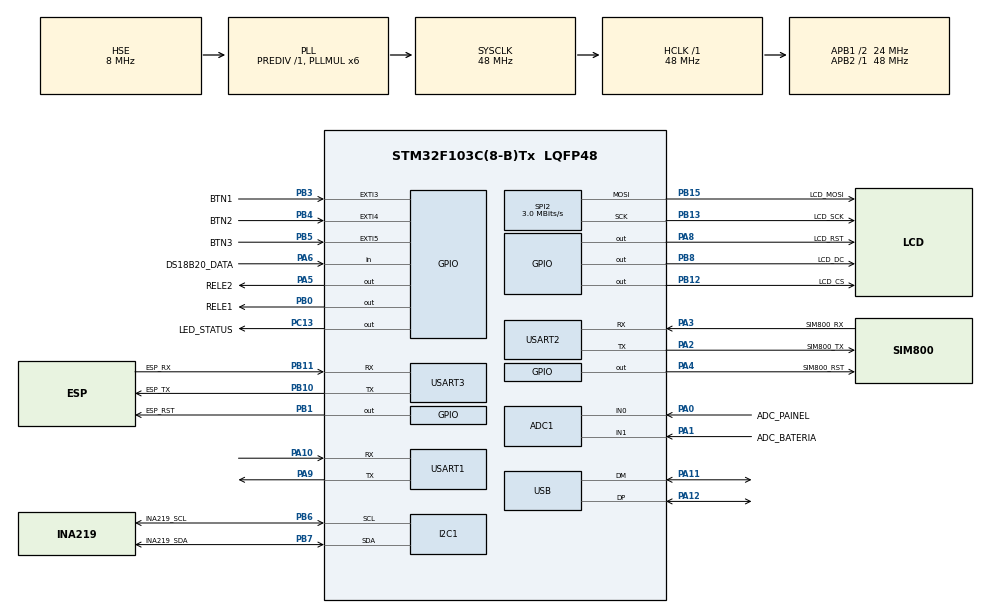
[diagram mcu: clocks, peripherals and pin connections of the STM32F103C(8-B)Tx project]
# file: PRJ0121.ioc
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ADC1.Channel-0\#ChannelRegularConversion=ADC_CHANNEL_0
ADC1.Channel-1\#ChannelRegularConversion=ADC_CHANNEL_1
ADC1.Channel-2\#ChannelRegularConversion=ADC_CHANNEL_TEMPSENSOR
ADC1.NbrOfConversion=3
ADC1.NbrOfConversionFlag=1
ADC1.Rank-0\#ChannelRegularConversion=1
ADC1.Rank-1\#ChannelRegularConversion=2
ADC1.Rank-2\#ChannelRegularConversion=3
ADC1.SamplingTime-0\#ChannelRegularConversion=ADC_SAMPLETIME_71CYCLES_5
ADC1.SamplingTime-1\#ChannelRegularConversion=ADC_SAMPLETIME_71CYCLES_5
ADC1.SamplingTime-2\#ChannelRegularConversion=ADC_SAMPLETIME_71CYCLES_5
ADC1.master=1
Dma.ADC1.0.Direction=DMA_PERIPH_TO_MEMORY
Dma.ADC1.0.Instance=DMA1_Channel1
Dma.ADC1.0.MemDataAlignment=DMA_MDATAALIGN_WORD
Dma.ADC1.0.MemInc=DMA_MINC_ENABLE
Dma.ADC1.0.Mode=DMA_CIRCULAR
Dma.ADC1.0.PeriphDataAlignment=DMA_PDATAALIGN_WORD
Dma.ADC1.0.PeriphInc=DMA_PINC_DISABLE
Dma.ADC1.0.Priority=DMA_PRIORITY_LOW
Dma.Request0=ADC1
FREERTOS.MEMORY_ALLOCATION=1
FREERTOS.Mutexes01=mutexConfig,Static,mutexConfigControlBlock;mutexStatus,Static,mutexStatusControlBlock
FREERTOS.Tasks01=taskAquisicao,0,128,leitura,Default,NULL,Static,taskAquisicaoBuffer,taskAquisicaoControlBlock;taskAcionamento,0,128,motores,Default,NULL,Static,taskAcionamentoBuffer,taskAcionamentoControlBlock;taskDisplay,-3,128,impressao,Default,NULL,Static,taskDisplayBuffer,taskDisplayControlBlock;taskComunicacoa,-2,128,rede,Default,NULL,Static,taskComunicacoaBuffer,taskComunicacoaControlBlock
FREERTOS.configTOTAL_HEAP_SIZE=6000
IWDG.Prescaler=IWDG_PRESCALER_256
Mcu.Family=STM32F1
Mcu.Name=STM32F103C(8-B)Tx
Mcu.Package=LQFP48
NVIC.ADC1_2_IRQn=true\:5\:0\:false\:false\:true\:true\:true
NVIC.DMA1_Channel1_IRQn=true\:5\:0\:false\:false\:true\:true\:false
NVIC.EXTI3_IRQn=true\:5\:0\:false\:false\:true\:true\:true
NVIC.EXTI4_IRQn=true\:5\:0\:false\:false\:true\:true\:true
NVIC.EXTI9_5_IRQn=true\:5\:0\:false\:false\:true\:true\:true
NVIC.PriorityGroup=NVIC_PRIORITYGROUP_4
NVIC.TIM1_UP_IRQn=true\:0\:0\:false\:false\:true\:false\:false
NVIC.TimeBase=TIM1_UP_IRQn
NVIC.TimeBaseIP=TIM1
NVIC.USART1_IRQn=true\:5\:0\:false\:false\:true\:true\:true
NVIC.USART2_IRQn=true\:5\:0\:false\:false\:true\:true\:true
NVIC.USART3_IRQn=true\:5\:0\:false\:false\:true\:true\:true
NVIC.USB_LP_CAN1_RX0_IRQn=true\:5\:0\:false\:false\:true\:true\:false
PA0-WKUP.GPIO_Label=ADC_PAINEL
PA0-WKUP.Signal=ADCx_IN0
PA1.GPIO_Label=ADC_BATERIA
PA1.Signal=ADCx_IN1
PA10.Mode=Asynchronous
PA10.Signal=USART1_RX
PA11.Mode=Device
PA11.Signal=USB_DM
PA12.Mode=Device
PA12.Signal=USB_DP
PA2.GPIO_Label=SIM800_TX
PA2.Mode=Asynchronous
PA2.Signal=USART2_TX
PA3.GPIO_Label=SIM800_RX
PA3.Mode=Asynchronous
PA3.Signal=USART2_RX
PA4.GPIO_Label=SIM800_RST
PA4.Signal=GPIO_Output
PA5.GPIO_Label=RELE2
PA5.PinState=GPIO_PIN_SET
PA5.Signal=GPIO_Output
PA6.GPIO_Label=DS18B20_DATA
PA6.Signal=GPIO_Input
PA8.GPIO_Label=LCD_RST
PA8.Signal=GPIO_Output
PA9.Mode=Asynchronous
PA9.Signal=USART1_TX
PB0.GPIO_Label=RELE1
PB0.PinState=GPIO_PIN_SET
PB0.Signal=GPIO_Output
PB1.GPIO_Label=ESP_RST
PB1.Signal=GPIO_Output
PB10.GPIO_Label=ESP_TX
PB10.Mode=Asynchronous
PB10.Signal=USART3_TX
PB11.GPIO_Label=ESP_RX
PB11.Mode=Asynchronous
PB11.Signal=USART3_RX
PB12.GPIO_Label=LCD_CS
PB12.Signal=GPIO_Output
PB13.GPIO_Label=LCD_SCK
PB13.Mode=TX_Only_Simplex_Unidirect_Master
PB13.Signal=SPI2_SCK
PB15.GPIO_Label=LCD_MOSI
PB15.Mode=TX_Only_Simplex_Unidirect_Master
PB15.Signal=SPI2_MOSI
PB3.GPIO_Label=BTN1
PB3.GPIO_PuPd=GPIO_PULLUP
PB3.Signal=GPXTI3
PB4.GPIO_Label=BTN2
PB4.GPIO_PuPd=GPIO_PULLUP
PB4.Signal=GPXTI4
PB5.GPIO_Label=BTN3
PB5.GPIO_PuPd=GPIO_PULLUP
PB5.Signal=GPXTI5
PB6.GPIO_Label=INA219_SCL
PB6.Mode=I2C
PB6.Signal=I2C1_SCL
PB7.GPIO_Label=INA219_SDA
PB7.Mode=I2C
PB7.Signal=I2C1_SDA
PB8.GPIO_Label=LCD_DC
PB8.Signal=GPIO_Output
PC13-TAMPER-RTC.GPIO_Label=LED_STATUS
PC13-TAMPER-RTC.Signal=GPIO_Output
PC14-OSC32_IN.Mode=LSE-External-Oscillator
PC14-OSC32_IN.Signal=RCC_OSC32_IN
PC15-OSC32_OUT.Mode=LSE-External-Oscillator
PC15-OSC32_OUT.Signal=RCC_OSC32_OUT
PD0-OSC_IN.Mode=HSE-External-Oscillator
PD0-OSC_IN.Signal=RCC_OSC_IN
PD1-OSC_OUT.Mode=HSE-External-Oscillator
PD1-OSC_OUT.Signal=RCC_OSC_OUT
ProjectManager.HeapSize=0x200
ProjectManager.StackSize=0x400
ProjectManager.TargetToolchain=TrueSTUDIO
RCC.ADCPresc=RCC_ADCPCLK2_DIV4
RCC.AHBFreq_Value=48000000
RCC.APB1CLKDivider=RCC_HCLK_DIV2
RCC.APB1Freq_Value=24000000
RCC.APB1TimFreq_Value=48000000
RCC.APB2Freq_Value=48000000
RCC.APB2TimFreq_Value=48000000
RCC.HCLKFreq_Value=48000000
RCC.PLLMUL=RCC_PLL_MUL6
RCC.SYSCLKFreq_VALUE=48000000
RCC.SYSCLKSource=RCC_SYSCLKSOURCE_PLLCLK
RCC.USBFreq_Value=48000000
SH.ADCx_IN0.0=ADC1_IN0,IN0
SH.ADCx_IN1.0=ADC1_IN1,IN1
SPI2.BaudRatePrescaler=SPI_BAUDRATEPRESCALER_8
SPI2.CalculateBaudRate=3.0 MBits/s
SPI2.Direction=SPI_DIRECTION_2LINES
SPI2.Mode=SPI_MODE_MASTER
SPI2.VirtualType=VM_MASTER
TIM2.Period=0xFFFF
TIM2.Prescaler=47
USART1.VirtualMode=VM_ASYNC
USART2.VirtualMode=VM_ASYNC
USART3.VirtualMode=VM_ASYNC
USB_DEVICE.CLASS_NAME_FS=CDC
USB_DEVICE.VirtualMode=Cdc
USB_DEVICE.VirtualModeFS=Cdc_FS
VP_ADC1_TempSens_Input.Mode=IN-TempSens
VP_FREERTOS_VS_ENABLE.Mode=Enabled
VP_IWDG_VS_IWDG.Mode=IWDG_Activate
VP_SYS_VS_ND.Mode=No_Debug
VP_SYS_VS_tim1.Mode=TIM1
VP_TIM2_VS_ClockSourceINT.Mode=Internal
VP_USB_DEVICE_VS_USB_DEVICE_CDC_FS.Mode=CDC_FS
board=custom

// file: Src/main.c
/**
  ******************************************************************************
  * @file           : main.c
  * @brief          : Main program body
  ******************************************************************************
  * This notice applies to any and all portions of this file
  * that are not between comment pairs USER CODE BEGIN and
  * USER CODE END. Other portions of this file, whether
  * inserted by the user or by software development tools
  * are owned by their respective copyright owners.
  *
  * Copyright (c) 2018 STMicroelectronics International N.V.
  * All rights reserved.
  *
  * Redistribution and use in source and binary forms, with or without
  * modification, are permitted, provided that the following conditions are met:
  *
  * 1. Redistribution of source code must retain the above copyright notice,
  *    this list of conditions and the following disclaimer.
  * 2. Redistributions in binary form must reproduce the above copyright notice,
  *    this list of conditions and the following disclaimer in the documentation
  *    and/or other materials provided with the distribution.
  * 3. Neither the name of STMicroelectronics nor the names of other
  *    contributors to this software may be used to endorse or promote products
  *    derived from this software without specific written permission.
  * 4. This software, including modifications and/or derivative works of this
  *    software, must execute solely and exclusively on microcontroller or
  *    microprocessor devices manufactured by or for STMicroelectronics.
  * 5. Redistribution and use of this software other than as permitted under
  *    this license is void and will automatically terminate your rights under
  *    this license.
  *
  * THIS SOFTWARE IS PROVIDED BY STMICROELECTRONICS AND CONTRIBUTORS "AS IS"
  * AND ANY EXPRESS, IMPLIED OR STATUTORY WARRANTIES, INCLUDING, BUT NOT
  * LIMITED TO, THE IMPLIED WARRANTIES OF MERCHANTABILITY, FITNESS FOR A
  * PARTICULAR PURPOSE AND NON-INFRINGEMENT OF THIRD PARTY INTELLECTUAL PROPERTY
  * RIGHTS ARE DISCLAIMED TO THE FULLEST EXTENT PERMITTED BY LAW. IN NO EVENT
  * SHALL STMICROELECTRONICS OR CONTRIBUTORS BE LIABLE FOR ANY DIRECT, INDIRECT,
  * INCIDENTAL, SPECIAL, EXEMPLARY, OR CONSEQUENTIAL DAMAGES (INCLUDING, BUT NOT
  * LIMITED TO, PROCUREMENT OF SUBSTITUTE GOODS OR SERVICES; LOSS OF USE, DATA,
  * OR PROFITS; OR BUSINESS INTERRUPTION) HOWEVER CAUSED AND ON ANY THEORY OF
  * LIABILITY, WHETHER IN CONTRACT, STRICT LIABILITY, OR TORT (INCLUDING
  * NEGLIGENCE OR OTHERWISE) ARISING IN ANY WAY OUT OF THE USE OF THIS SOFTWARE,
  * EVEN IF ADVISED OF THE POSSIBILITY OF SUCH DAMAGE.
  *
  ******************************************************************************
  */
#include "main.h"
#include "stm32f1xx_hal.h"
#include "cmsis_os.h"
#include "usb_device.h"

/* USER CODE BEGIN Includes */
#include "user_5110.h"
#include "ina219.h"
#include "esp8266at.h"
#include "MQTTPacket.h"
#include "transport.h"
#include "eeprom.h"
#include "ds18b20.h"
/* USER CODE END Includes */

ADC_HandleTypeDef hadc1;
DMA_HandleTypeDef hdma_adc1;

I2C_HandleTypeDef hi2c1;

IWDG_HandleTypeDef hiwdg;

SPI_HandleTypeDef hspi2;

TIM_HandleTypeDef htim2;

UART_HandleTypeDef huart1;
UART_HandleTypeDef huart2;
UART_HandleTypeDef huart3;

osThreadId taskAquisicaoHandle;
uint32_t taskAquisicaoBuffer[ 128 ];
osStaticThreadDef_t taskAquisicaoControlBlock;
osThreadId taskAcionamentoHandle;
uint32_t taskAcionamentoBuffer[ 128 ];
osStaticThreadDef_t taskAcionamentoControlBlock;
osThreadId taskDisplayHandle;
uint32_t taskDisplayBuffer[ 128 ];
osStaticThreadDef_t taskDisplayControlBlock;
osThreadId taskComunicacoaHandle;
uint32_t taskComunicacoaBuffer[ 128 ];
osStaticThreadDef_t taskComunicacoaControlBlock;
osMutexId mutexConfigHandle;
osStaticMutexDef_t mutexConfigControlBlock;
osMutexId mutexStatusHandle;
osStaticMutexDef_t mutexStatusControlBlock;

/* USER CODE BEGIN PV */
/* Private variables ---------------------------------------------------------*/

Status_t Status;
Config_t Config;
char buffer[50];
char payload[200];
uint32_t buffAdc[3];
int seq = 0;

//Reimplementação das funções para direcionar o printf para a UART2
int __io_putchar(int ch) {
	uint8_t c[1];
	c[0] = ch & 0x00FF;
	HAL_UART_Transmit(&huart1, &*c, 1, 10);
	return ch;
}

int _write(int file,char *ptr, int len){
	int DataIdx;
	for(DataIdx= 0; DataIdx< len; DataIdx++) {
		__io_putchar(*ptr++);
	}
	return len;
}
/* USER CODE END PV */

void SystemClock_Config(void);
static void MX_GPIO_Init(void);
static void MX_DMA_Init(void);
static void MX_SPI2_Init(void);
static void MX_I2C1_Init(void);
static void MX_ADC1_Init(void);
static void MX_USART2_UART_Init(void);
static void MX_USART3_UART_Init(void);
static void MX_USART1_UART_Init(void);
static void MX_IWDG_Init(void);
static void MX_TIM2_Init(void);
void leitura(void const * argument);
void motores(void const * argument);
void impressao(void const * argument);
void rede(void const * argument);

/* USER CODE BEGIN PFP */
/* Private function prototypes -----------------------------------------------*/

/* USER CODE END PFP */

/* USER CODE BEGIN 0 */

void sampleserial_init(void);
void sampleserial_close(void);
int samplesend(unsigned char *address, unsigned int bytes);
int samplerecv(unsigned char *address, unsigned int maxbytes);
int mqtt_start(void);
int mqtt_pub(void);
/* */

/* You will use your hardware specifics here, see transport.h. */
static transport_iofunctions_t iof = {samplesend, samplerecv};

/* USER CODE END 0 */

int main(void)
{
  /* USER CODE BEGIN 1 */
	Config.tempoLigadoDia = 8;
	Config.tempoDesligadoDia = 15;
	Config.tempoLigadoNoite = 8;
	Config.tempoDesligadoNoite = 15;
	Config.Imax = 2000;
	Config.VbatMin = 0000;
	Config.VcargaMin = 0000;
	Config.tempAguaMax = 35;
	Config.tempProcMax  = 65;
	Config.thresholdDia  = 3000;
  /* USER CODE END 1 */

  /* MCU Configuration----------------------------------------------------------*/

  /* Reset of all peripherals, Initializes the Flash interface and the Systick. */
  HAL_Init();

  /* Configure the system clock */
  SystemClock_Config();

  /* Initialize all configured peripherals */
  MX_GPIO_Init();
  MX_DMA_Init();
  MX_SPI2_Init();
  MX_I2C1_Init();
  MX_ADC1_Init();
  MX_USART2_UART_Init();
  MX_USART3_UART_Init();
  MX_USART1_UART_Init();
  MX_IWDG_Init();
  MX_TIM2_Init();

  /* Create the mutex(es) */
  /* definition and creation of mutexConfig */
  osMutexStaticDef(mutexConfig, &mutexConfigControlBlock);
  mutexConfigHandle = osMutexCreate(osMutex(mutexConfig));

  /* definition and creation of mutexStatus */
  osMutexStaticDef(mutexStatus, &mutexStatusControlBlock);
  mutexStatusHandle = osMutexCreate(osMutex(mutexStatus));

  /* Create the thread(s) */
  /* definition and creation of taskAquisicao */
  osThreadStaticDef(taskAquisicao, leitura, osPriorityNormal, 0, 128, taskAquisicaoBuffer, &taskAquisicaoControlBlock);
  taskAquisicaoHandle = osThreadCreate(osThread(taskAquisicao), NULL);

  /* definition and creation of taskAcionamento */
  osThreadStaticDef(taskAcionamento, motores, osPriorityNormal, 0, 128, taskAcionamentoBuffer, &taskAcionamentoControlBlock);
  taskAcionamentoHandle = osThreadCreate(osThread(taskAcionamento), NULL);

  /* definition and creation of taskDisplay */
  osThreadStaticDef(taskDisplay, impressao, osPriorityIdle, 0, 128, taskDisplayBuffer, &taskDisplayControlBlock);
  taskDisplayHandle = osThreadCreate(osThread(taskDisplay), NULL);

  /* definition and creation of taskComunicacoa */
  osThreadStaticDef(taskComunicacoa, rede, osPriorityLow, 0, 128, taskComunicacoaBuffer, &taskComunicacoaControlBlock);
  taskComunicacoaHandle = osThreadCreate(osThread(taskComunicacoa), NULL);

  /* Start scheduler */
  osKernelStart();

  /* We should never get here as control is now taken by the scheduler */

  /* Infinite loop */
  while (1)
  {

  }

}

void SystemClock_Config(void)
{

  RCC_OscInitTypeDef RCC_OscInitStruct;
  RCC_ClkInitTypeDef RCC_ClkInitStruct;
  RCC_PeriphCLKInitTypeDef PeriphClkInit;

    /**Initializes the CPU, AHB and APB busses clocks
    */
  RCC_OscInitStruct.OscillatorType = RCC_OSCILLATORTYPE_LSI|RCC_OSCILLATORTYPE_HSE;
  RCC_OscInitStruct.HSEState = RCC_HSE_ON;
  RCC_OscInitStruct.HSEPredivValue = RCC_HSE_PREDIV_DIV1;
  RCC_OscInitStruct.HSIState = RCC_HSI_ON;
  RCC_OscInitStruct.LSIState = RCC_LSI_ON;
  RCC_OscInitStruct.PLL.PLLState = RCC_PLL_ON;
  RCC_OscInitStruct.PLL.PLLSource = RCC_PLLSOURCE_HSE;
  RCC_OscInitStruct.PLL.PLLMUL = RCC_PLL_MUL6;
  if (HAL_RCC_OscConfig(&RCC_OscInitStruct) != HAL_OK)
  {
    _Error_Handler(__FILE__, __LINE__);
  }

    /**Initializes the CPU, AHB and APB busses clocks
    */
  RCC_ClkInitStruct.ClockType = RCC_CLOCKTYPE_HCLK|RCC_CLOCKTYPE_SYSCLK
                              |RCC_CLOCKTYPE_PCLK1|RCC_CLOCKTYPE_PCLK2;
  RCC_ClkInitStruct.SYSCLKSource = RCC_SYSCLKSOURCE_PLLCLK;
  RCC_ClkInitStruct.AHBCLKDivider = RCC_SYSCLK_DIV1;
  RCC_ClkInitStruct.APB1CLKDivider = RCC_HCLK_DIV2;
  RCC_ClkInitStruct.APB2CLKDivider = RCC_HCLK_DIV1;

  if (HAL_RCC_ClockConfig(&RCC_ClkInitStruct, FLASH_LATENCY_1) != HAL_OK)
  {
    _Error_Handler(__FILE__, __LINE__);
  }

  PeriphClkInit.PeriphClockSelection = RCC_PERIPHCLK_ADC|RCC_PERIPHCLK_USB;
  PeriphClkInit.AdcClockSelection = RCC_ADCPCLK2_DIV4;
  PeriphClkInit.UsbClockSelection = RCC_USBCLKSOURCE_PLL;
  if (HAL_RCCEx_PeriphCLKConfig(&PeriphClkInit) != HAL_OK)
  {
    _Error_Handler(__FILE__, __LINE__);
  }

    /**Configure the Systick interrupt time
    */
  HAL_SYSTICK_Config(HAL_RCC_GetHCLKFreq()/1000);

    /**Configure the Systick
    */
  HAL_SYSTICK_CLKSourceConfig(SYSTICK_CLKSOURCE_HCLK);

  /* SysTick_IRQn interrupt configuration */
  HAL_NVIC_SetPriority(SysTick_IRQn, 15, 0);
}

/* ADC1 init function */
static void MX_ADC1_Init(void)
{

  ADC_ChannelConfTypeDef sConfig;

    /**Common config
    */
  hadc1.Instance = ADC1;
  hadc1.Init.ScanConvMode = ADC_SCAN_ENABLE;
  hadc1.Init.ContinuousConvMode = DISABLE;
  hadc1.Init.DiscontinuousConvMode = DISABLE;
  hadc1.Init.ExternalTrigConv = ADC_SOFTWARE_START;
  hadc1.Init.DataAlign = ADC_DATAALIGN_RIGHT;
  hadc1.Init.NbrOfConversion = 3;
  if (HAL_ADC_Init(&hadc1) != HAL_OK)
  {
    _Error_Handler(__FILE__, __LINE__);
  }

    /**Configure Regular Channel
    */
  sConfig.Channel = ADC_CHANNEL_0;
  sConfig.Rank = ADC_REGULAR_RANK_1;
  sConfig.SamplingTime = ADC_SAMPLETIME_71CYCLES_5;
  if (HAL_ADC_ConfigChannel(&hadc1, &sConfig) != HAL_OK)
  {
    _Error_Handler(__FILE__, __LINE__);
  }

    /**Configure Regular Channel
    */
  sConfig.Channel = ADC_CHANNEL_1;
  sConfig.Rank = ADC_REGULAR_RANK_2;
  if (HAL_ADC_ConfigChannel(&hadc1, &sConfig) != HAL_OK)
  {
    _Error_Handler(__FILE__, __LINE__);
  }

    /**Configure Regular Channel
    */
  sConfig.Channel = ADC_CHANNEL_TEMPSENSOR;
  sConfig.Rank = ADC_REGULAR_RANK_3;
  if (HAL_ADC_ConfigChannel(&hadc1, &sConfig) != HAL_OK)
  {
    _Error_Handler(__FILE__, __LINE__);
  }

}

/* I2C1 init function */
static void MX_I2C1_Init(void)
{

  hi2c1.Instance = I2C1;
  hi2c1.Init.ClockSpeed = 100000;
  hi2c1.Init.DutyCycle = I2C_DUTYCYCLE_2;
  hi2c1.Init.OwnAddress1 = 0;
  hi2c1.Init.AddressingMode = I2C_ADDRESSINGMODE_7BIT;
  hi2c1.Init.DualAddressMode = I2C_DUALADDRESS_DISABLE;
  hi2c1.Init.OwnAddress2 = 0;
  hi2c1.Init.GeneralCallMode = I2C_GENERALCALL_DISABLE;
  hi2c1.Init.NoStretchMode = I2C_NOSTRETCH_DISABLE;
  if (HAL_I2C_Init(&hi2c1) != HAL_OK)
  {
    _Error_Handler(__FILE__, __LINE__);
  }

}

/* IWDG init function */
static void MX_IWDG_Init(void)
{

  hiwdg.Instance = IWDG;
  hiwdg.Init.Prescaler = IWDG_PRESCALER_256;
  hiwdg.Init.Reload = 4095;
  if (HAL_IWDG_Init(&hiwdg) != HAL_OK)
  {
    _Error_Handler(__FILE__, __LINE__);
  }

}

/* SPI2 init function */
static void MX_SPI2_Init(void)
{

  /* SPI2 parameter configuration*/
  hspi2.Instance = SPI2;
  hspi2.Init.Mode = SPI_MODE_MASTER;
  hspi2.Init.Direction = SPI_DIRECTION_2LINES;
  hspi2.Init.DataSize = SPI_DATASIZE_8BIT;
  hspi2.Init.CLKPolarity = SPI_POLARITY_LOW;
  hspi2.Init.CLKPhase = SPI_PHASE_1EDGE;
  hspi2.Init.NSS = SPI_NSS_SOFT;
  hspi2.Init.BaudRatePrescaler = SPI_BAUDRATEPRESCALER_8;
  hspi2.Init.FirstBit = SPI_FIRSTBIT_MSB;
  hspi2.Init.TIMode = SPI_TIMODE_DISABLE;
  hspi2.Init.CRCCalculation = SPI_CRCCALCULATION_DISABLE;
  hspi2.Init.CRCPolynomial = 10;
  if (HAL_SPI_Init(&hspi2) != HAL_OK)
  {
    _Error_Handler(__FILE__, __LINE__);
  }

}

/* TIM2 init function */
static void MX_TIM2_Init(void)
{

  TIM_ClockConfigTypeDef sClockSourceConfig;
  TIM_MasterConfigTypeDef sMasterConfig;

  htim2.Instance = TIM2;
  htim2.Init.Prescaler = 47;
  htim2.Init.CounterMode = TIM_COUNTERMODE_UP;
  htim2.Init.Period = 0xFFFF;
  htim2.Init.ClockDivision = TIM_CLOCKDIVISION_DIV1;
  htim2.Init.AutoReloadPreload = TIM_AUTORELOAD_PRELOAD_DISABLE;
  if (HAL_TIM_Base_Init(&htim2) != HAL_OK)
  {
    _Error_Handler(__FILE__, __LINE__);
  }

  sClockSourceConfig.ClockSource = TIM_CLOCKSOURCE_INTERNAL;
  if (HAL_TIM_ConfigClockSource(&htim2, &sClockSourceConfig) != HAL_OK)
  {
    _Error_Handler(__FILE__, __LINE__);
  }

  sMasterConfig.MasterOutputTrigger = TIM_TRGO_RESET;
  sMasterConfig.MasterSlaveMode = TIM_MASTERSLAVEMODE_DISABLE;
  if (HAL_TIMEx_MasterConfigSynchronization(&htim2, &sMasterConfig) != HAL_OK)
  {
    _Error_Handler(__FILE__, __LINE__);
  }

}

/* USART1 init function */
static void MX_USART1_UART_Init(void)
{

  huart1.Instance = USART1;
  huart1.Init.BaudRate = 115200;
  huart1.Init.WordLength = UART_WORDLENGTH_8B;
  huart1.Init.StopBits = UART_STOPBITS_1;
  huart1.Init.Parity = UART_PARITY_NONE;
  huart1.Init.Mode = UART_MODE_TX_RX;
  huart1.Init.HwFlowCtl = UART_HWCONTROL_NONE;
  huart1.Init.OverSampling = UART_OVERSAMPLING_16;
  if (HAL_UART_Init(&huart1) != HAL_OK)
  {
    _Error_Handler(__FILE__, __LINE__);
  }

}

/* USART2 init function */
static void MX_USART2_UART_Init(void)
{

  huart2.Instance = USART2;
  huart2.Init.BaudRate = 115200;
  huart2.Init.WordLength = UART_WORDLENGTH_8B;
  huart2.Init.StopBits = UART_STOPBITS_1;
  huart2.Init.Parity = UART_PARITY_NONE;
  huart2.Init.Mode = UART_MODE_TX_RX;
  huart2.Init.HwFlowCtl = UART_HWCONTROL_NONE;
  huart2.Init.OverSampling = UART_OVERSAMPLING_16;
  if (HAL_UART_Init(&huart2) != HAL_OK)
  {
    _Error_Handler(__FILE__, __LINE__);
  }

}

/* USART3 init function */
static void MX_USART3_UART_Init(void)
{

  huart3.Instance = USART3;
  huart3.Init.BaudRate = 115200;
  huart3.Init.WordLength = UART_WORDLENGTH_8B;
  huart3.Init.StopBits = UART_STOPBITS_1;
  huart3.Init.Parity = UART_PARITY_NONE;
  huart3.Init.Mode = UART_MODE_TX_RX;
  huart3.Init.HwFlowCtl = UART_HWCONTROL_NONE;
  huart3.Init.OverSampling = UART_OVERSAMPLING_16;
  if (HAL_UART_Init(&huart3) != HAL_OK)
  {
    _Error_Handler(__FILE__, __LINE__);
  }

}

static void MX_DMA_Init(void)
{
  /* DMA controller clock enable */
  __HAL_RCC_DMA1_CLK_ENABLE();

  /* DMA interrupt init */
  /* DMA1_Channel1_IRQn interrupt configuration */
  HAL_NVIC_SetPriority(DMA1_Channel1_IRQn, 5, 0);
  HAL_NVIC_EnableIRQ(DMA1_Channel1_IRQn);

}

/** Configure pins as
        * Analog
        * Input
        * Output
        * EVENT_OUT
        * EXTI
*/
static void MX_GPIO_Init(void)
{

  GPIO_InitTypeDef GPIO_InitStruct;

  /* GPIO Ports Clock Enable */
  __HAL_RCC_GPIOC_CLK_ENABLE();
  __HAL_RCC_GPIOD_CLK_ENABLE();
  __HAL_RCC_GPIOA_CLK_ENABLE();
  __HAL_RCC_GPIOB_CLK_ENABLE();

  /*Configure GPIO pin Output Level */
  HAL_GPIO_WritePin(LED_STATUS_GPIO_Port, LED_STATUS_Pin, GPIO_PIN_RESET);

  /*Configure GPIO pin Output Level */
  HAL_GPIO_WritePin(GPIOA, SIM800_RST_Pin|LCD_RST_Pin, GPIO_PIN_RESET);

  /*Configure GPIO pin Output Level */
  HAL_GPIO_WritePin(RELE2_GPIO_Port, RELE2_Pin, GPIO_PIN_SET);

  /*Configure GPIO pin Output Level */
  HAL_GPIO_WritePin(RELE1_GPIO_Port, RELE1_Pin, GPIO_PIN_SET);

  /*Configure GPIO pin Output Level */
  HAL_GPIO_WritePin(GPIOB, ESP_RST_Pin|LCD_CS_Pin|LCD_DC_Pin, GPIO_PIN_RESET);

  /*Configure GPIO pin : LED_STATUS_Pin */
  GPIO_InitStruct.Pin = LED_STATUS_Pin;
  GPIO_InitStruct.Mode = GPIO_MODE_OUTPUT_PP;
  GPIO_InitStruct.Pull = GPIO_NOPULL;
  GPIO_InitStruct.Speed = GPIO_SPEED_FREQ_LOW;
  HAL_GPIO_Init(LED_STATUS_GPIO_Port, &GPIO_InitStruct);

  /*Configure GPIO pins : SIM800_RST_Pin RELE2_Pin LCD_RST_Pin */
  GPIO_InitStruct.Pin = SIM800_RST_Pin|RELE2_Pin|LCD_RST_Pin;
  GPIO_InitStruct.Mode = GPIO_MODE_OUTPUT_PP;
  GPIO_InitStruct.Pull = GPIO_NOPULL;
  GPIO_InitStruct.Speed = GPIO_SPEED_FREQ_LOW;
  HAL_GPIO_Init(GPIOA, &GPIO_InitStruct);

  /*Configure GPIO pin : DS18B20_DATA_Pin */
  GPIO_InitStruct.Pin = DS18B20_DATA_Pin;
  GPIO_InitStruct.Mode = GPIO_MODE_INPUT;
  GPIO_InitStruct.Pull = GPIO_NOPULL;
  HAL_GPIO_Init(DS18B20_DATA_GPIO_Port, &GPIO_InitStruct);

  /*Configure GPIO pins : RELE1_Pin ESP_RST_Pin LCD_CS_Pin LCD_DC_Pin */
  GPIO_InitStruct.Pin = RELE1_Pin|ESP_RST_Pin|LCD_CS_Pin|LCD_DC_Pin;
  GPIO_InitStruct.Mode = GPIO_MODE_OUTPUT_PP;
  GPIO_InitStruct.Pull = GPIO_NOPULL;
  GPIO_InitStruct.Speed = GPIO_SPEED_FREQ_LOW;
  HAL_GPIO_Init(GPIOB, &GPIO_InitStruct);

  /*Configure GPIO pins : BTN1_Pin BTN2_Pin BTN3_Pin */
  GPIO_InitStruct.Pin = BTN1_Pin|BTN2_Pin|BTN3_Pin;
  GPIO_InitStruct.Mode = GPIO_MODE_IT_RISING;
  GPIO_InitStruct.Pull = GPIO_PULLUP;
  HAL_GPIO_Init(GPIOB, &GPIO_InitStruct);

  /* EXTI interrupt init*/
  HAL_NVIC_SetPriority(EXTI3_IRQn, 5, 0);
  HAL_NVIC_EnableIRQ(EXTI3_IRQn);

  HAL_NVIC_SetPriority(EXTI4_IRQn, 5, 0);
  HAL_NVIC_EnableIRQ(EXTI4_IRQn);

  HAL_NVIC_SetPriority(EXTI9_5_IRQn, 5, 0);
  HAL_NVIC_EnableIRQ(EXTI9_5_IRQn);

}

/* USER CODE BEGIN 4 */

void HAL_UART_RxCpltCallback(UART_HandleTypeDef *huart){

	 if(huart->Instance==USART3) {
		 Wifi_RxCallBack();
	 }

	 if(huart->Instance==USART2) {
		 //
	 }

	 if(huart->Instance==USART1) {
		 //
	 }
}

void HAL_ADC_ConvCpltCallback(ADC_HandleTypeDef *AdcHandle)
{
  /* Report to main program that ADC sequencer has reached its end */
  seq = 1;
}

int mqtt_start(void){

	MQTTPacket_connectData data = MQTTPacket_connectData_initializer;
	int rc = 0;
	int mysock = 0;
	unsigned char buf[200];
	int buflen = sizeof(buf);
	int len = 0;
	MQTTString topicString = MQTTString_initializer;
	int req_qos = 0;
	char* payload = "mypayload123";
	int payloadlen = strlen(payload);
	MQTTTransport mytransport;

    sampleserial_init();

	mysock = transport_open(&iof);
	if(mysock < 0) {
		printf("Erro conectar socket \n\r");
		//return mysock;
	}

	mytransport.sck = &mysock;
	mytransport.getfn = transport_getdatanb;
	mytransport.state = 0;
	data.clientID.cstring = "meu1234";
	data.keepAliveInterval = 20;
	data.cleansession = 1;

	len = MQTTSerialize_connect(buf, buflen, &data);
	/* This one blocks until it finishes sending, you will probably not want this in real life,
	in such a case replace this call by a scheme similar to the one you'll see in the main loop */

	//printf("length %d\n\r", len);

	rc = transport_sendPacketBuffer(mysock, buf, len);

	//printf("Sent %d - %d - %d \n\r", mysock, buf, len);
	/* wait for connack */
//	do {
//		int frc;
//		if ((frc=MQTTPacket_readnb(buf, buflen, &mytransport)) == CONNACK){
//			unsigned char sessionPresent, connack_rc;
//			printf("Entrou CoNNack %d , %d, %d\n\r", frc, buflen, buf);
//			if (MQTTDeserialize_connack(&sessionPresent, &connack_rc, buf, buflen) != 1 || connack_rc != 0){
//				printf("Unable to connect, return code %d\n\r", connack_rc);
//				return -1;
//			}
//			break;
//		}
//		else if (frc == -1){
//			printf("MQTT not connected\n");
//			return -1;
//		}
//	} while (1);  //handle timeouts here

	HAL_Delay(2000);

	printf("MQTT connected\n\r");

	return 0;

}

int mqtt_pub(void){

	int mysock = 0;
	unsigned char buf[200];
	int buflen = sizeof(buf);
	int len = 0;
	MQTTString topicString = MQTTString_initializer;
	int payloadlen = strlen(payload);

	topicString.cstring = "pubtopic28102018";
	len = MQTTSerialize_publish(buf, buflen, 0, 0, 0, 0, topicString, (unsigned char*)payload, payloadlen);
	transport_sendPacketBuffer(mysock, buf, len);

	return 0;

}

int mqtt_sub(void){

	int mysock = 0;
	int rc = 0;
	unsigned char buf[200];
	int buflen = sizeof(buf);
	int len = 0;
	int msgid = 1;
	int req_qos = 0;
	MQTTString topicString = MQTTString_initializer;
	MQTTTransport mytransport;

	mytransport.sck = &mysock;
	mytransport.getfn = transport_getdatanb;
	mytransport.state = 0;

	/* subscribe */
	topicString.cstring = "substopic";
	len = MQTTSerialize_subscribe(buf, buflen, 0, msgid, 1, &topicString, &req_qos);

		/* This is equivalent to the one above, but using the non-blocking functions. You will probably not want this in real life,
		in such a case replace this call by a scheme similar to the one you'll see in the main loop */
		transport_sendPacketBuffernb_start(mysock, buf, len);
		while((rc=transport_sendPacketBuffernb(mysock)) != TRANSPORT_DONE);
		do {
			int frc;
			if ((frc=MQTTPacket_readnb(buf, buflen, &mytransport)) == SUBACK){ /* wait for suback */
				unsigned short submsgid;
				int subcount;
				int granted_qos;

				rc = MQTTDeserialize_suback(&submsgid, 1, &subcount, &granted_qos, buf, buflen);
				if (granted_qos != 0){
					printf("granted qos != 0, %d\n", granted_qos);
					return -1;
				}
				break;
			}
			else if (frc == -1)
				return -1;
		} while (1); /* handle timeouts here */
		printf("Subscribed\n");

	return 0;

}

int sub_read(void){

	int mysock = 0;
	int rc = 0;
	MQTTTransport mytransport;

	mytransport.sck = &mysock;
	mytransport.getfn = transport_getdatanb;
	mytransport.state = 0;
	unsigned char buf[200];
	int buflen = sizeof(buf);

	if((rc=MQTTPacket_readnb(buf, buflen, &mytransport)) == PUBLISH){
				unsigned char dup;
				int qos;
				unsigned char retained;
				unsigned short msgid;
				int payloadlen_in;
				unsigned char* payload_in;
				int rc;
				MQTTString receivedTopic;

				rc = MQTTDeserialize_publish(&dup, &qos, &retained, &msgid, &receivedTopic,	&payload_in, &payloadlen_in, buf, buflen);

				printf("message arrived %d %s\n\r", payloadlen_in, payload_in);

	} else if(rc == -1){
		return -1;
	}

	return 0;
}

void sampleserial_init(void)
{

	if(Wifi_TcpIp_StartTcpConnection(Connection.LinkId, "37.187.106.16", 1883, 1000)==0){
		printf("ERROR connecting Mosquitto\n\r");
	}

//	if(Wifi_TcpIp_StartTcpConnection(Connection.LinkId, "192.168.0.15", 1883, 500)==0){
//		printf("ERROR connecting Mosquitto\n\r");
//	}

}

void sampleserial_close(void)
{
	Wifi_TcpIp_Close(Connection.LinkId);
}

int samplesend(unsigned char *address, unsigned int bytes)
{
	if(Wifi_TcpIp_SendDataTcp(Connection.LinkId, bytes, address)==0){
		return -1;
	}
	return bytes;
}

int samplerecv(unsigned char *address, unsigned int maxbytes)
{

	if (Wifi.GotNewData){
		 //Wifi.GotNewData=false;
		 printf("recv %d - %d \n\r",maxbytes, Wifi.RxBufferForData);
		 memcpy(address,Wifi.RxBufferForData,maxbytes);
	     //Wifi.RxDataLen = 0;
	 }
	 return  maxbytes;
}

/* USER CODE END 4 */

void leitura(void const * argument)
{

	/* USER CODE BEGIN 5 */
	int corrente;
	int potencia;
	int tensaoCarga;
	int tensaoPainel = 0;
	int tensaoBateria = 0;
	int tempProc = 0;
	int tempAgua;
	uint8_t  isDia;
	uint8_t  isFail;
	uint8_t isError;
	uint8_t  normalTemp;
	int tempProcMax;
	int	tempAguaMax;
	int	VbatMin;
	int	VcargaMin;
	int Imax;
	int thresholdDia;

	osMutexWait(mutexConfigHandle, osWaitForever);
	tempProcMax = Config.tempProcMax;
	tempAguaMax = Config.tempAguaMax;
	thresholdDia = Config.thresholdDia;
	VbatMin = Config.VbatMin;
	VcargaMin = Config.VcargaMin;
	Imax = Config.Imax;
	osMutexRelease(mutexConfigHandle);

	ina219Init();
	Ds18b20_Init();
	HAL_ADC_Start_DMA(&hadc1, (uint32_t *)buffAdc, 3);

	/* Infinite loop */
	for(;;)
	{
		HAL_ADC_Start(&hadc1);

		corrente = ina219GetCurrent_mA();
		potencia = ina219GetPower_mW();
		tensaoCarga = ina219GetBusVoltage();

		Ds18b20_ManualConvert();

		if (seq == 1){
			tempProc = COMPUTATION_TEMPERATURE_STD_PARAMS(buffAdc[2]);
			tensaoPainel = COMPUTATION_DIGITAL_12BITS_TO_VOLTAGE(buffAdc[0]);
			tensaoBateria = COMPUTATION_DIGITAL_12BITS_TO_VOLTAGE(buffAdc[1]);
			seq = 0;
		}

		if (ds18b20[0].DataIsValid) {
			tempAgua = (ds18b20[0].Temperature * 100);
			isError = 0;
		}else{
			isError = 1;
			tempAgua = 25;
		}

		if (tempAgua > tempAguaMax)
			normalTemp = 0;
		else
			normalTemp = 1;

		if (tensaoPainel > thresholdDia)
			isDia = 1;
		else
			isDia = 0;

		if (tempProc > tempProcMax)
			isFail = 1;
		else if (tensaoBateria < VbatMin)
			isFail = 1;
		else if (tensaoCarga < VcargaMin)
			isFail = 1;
		else if (corrente > Imax)
			isFail = 1;
		else
			isFail = 0;

		osMutexWait(mutexStatusHandle, 1000);
		Status.isDia  = isDia;
		Status.isFail = isFail;
		Status.isError = isError;
		Status.normalTemp = normalTemp;
		Status.tempAgua = tempAgua;
		Status.tempProc = tempProc;
		Status.tensaoCarga = tensaoCarga;
		Status.tensaoBateria = tensaoBateria;
		Status.tensaoPainel = tensaoPainel;
		Status.corrente = corrente;
		Status.potencia = potencia;
		osMutexRelease(mutexStatusHandle);

		HAL_IWDG_Refresh(&hiwdg);

		printf("sensores\n\r");
		osDelay(5000);
	}
	/* USER CODE END 5 */
}

void motores(void const * argument)
{
  /* USER CODE BEGIN motores */

	TickType_t timeBefore;
	TickType_t totalTime;
	uint8_t  numMotor = 1;
	uint8_t  statusMotor = 0;
	uint8_t  isDia = 0;
	uint8_t  isFail = 0;
	uint8_t  normalTemp = 1;

	osMutexWait(mutexConfigHandle, osWaitForever);
	TickType_t tempoLigadoDia = Config.tempoLigadoDia * 60000;
	TickType_t tempoDesligadoDia = Config.tempoDesligadoDia * 60000;
	TickType_t tempoLigadoNoite = Config.tempoLigadoNoite * 60000;
	TickType_t tempoDesligadoNoite = Config.tempoDesligadoNoite * 60000;
	osMutexRelease(mutexConfigHandle);

	HAL_GPIO_WritePin(RELE1_GPIO_Port, RELE1_Pin, GPIO_PIN_RESET);
	osDelay(5000);
	HAL_GPIO_WritePin(RELE1_GPIO_Port, RELE1_Pin, GPIO_PIN_SET);
	HAL_GPIO_WritePin(RELE2_GPIO_Port, RELE2_Pin, GPIO_PIN_RESET);
	osDelay(5000);
	HAL_GPIO_WritePin(RELE2_GPIO_Port, RELE2_Pin, GPIO_PIN_SET);

	timeBefore = xTaskGetTickCount();

	/* Infinite loop */
	for(;;)
	{
		printf("motores T %d \n\r", totalTime);

		osMutexWait(mutexStatusHandle, osWaitForever);
		isDia = Status.isDia;
		isFail = Status.isFail;
		normalTemp = Status.normalTemp;
		osMutexRelease(mutexStatusHandle);

		totalTime = xTaskGetTickCount() - timeBefore;

		if (!isFail){
			if (normalTemp){
				if (isDia){
					if ((totalTime > tempoDesligadoDia) & (statusMotor == 0)) {
						totalTime = 0;
						statusMotor = 1;
						timeBefore = xTaskGetTickCount();
						if (numMotor == 1){
							HAL_GPIO_WritePin(RELE1_GPIO_Port, RELE1_Pin, GPIO_PIN_RESET);
							numMotor = 2;
							osMutexWait(mutexStatusHandle, 1000);
							Status.motor1 = 1;
							osMutexRelease(mutexStatusHandle);
							printf("Ligado Motor1\n\r");
						} else {
							HAL_GPIO_WritePin(RELE2_GPIO_Port, RELE2_Pin, GPIO_PIN_RESET);
							numMotor = 1;
							osMutexWait(mutexStatusHandle, 1000);
							Status.motor2 = 1;
							osMutexRelease(mutexStatusHandle);
							printf("Ligado Motor2\n\r");
						}
					}
					if ((totalTime > tempoLigadoDia) & (statusMotor == 1)) {
						totalTime = 0;
						timeBefore = xTaskGetTickCount();
						statusMotor = 0;
						HAL_GPIO_WritePin(RELE1_GPIO_Port, RELE1_Pin, GPIO_PIN_SET);
						HAL_GPIO_WritePin(RELE2_GPIO_Port, RELE2_Pin, GPIO_PIN_SET);
						osMutexWait(mutexStatusHandle, 1000);
						Status.motor1 = 0;
						Status.motor2 = 0;
						osMutexRelease(mutexStatusHandle);
						printf("Desligado Motores\n\r");
					}
				}else{
					if ((totalTime > tempoDesligadoNoite) & (statusMotor == 0)) {
						totalTime = 0;
						statusMotor = 1;
						timeBefore = xTaskGetTickCount();
						if (numMotor == 1){
							HAL_GPIO_WritePin(RELE1_GPIO_Port, RELE1_Pin, GPIO_PIN_RESET);
							numMotor = 2;
							osMutexWait(mutexStatusHandle, 1000);
							Status.motor1 = 1;
							osMutexRelease(mutexStatusHandle);
							printf("Ligado Motor1\n\r");
						} else {
							HAL_GPIO_WritePin(RELE2_GPIO_Port, RELE2_Pin, GPIO_PIN_RESET);
							numMotor = 1;
							osMutexWait(mutexStatusHandle, 1000);
							Status.motor2 = 1;
							osMutexRelease(mutexStatusHandle);
							printf("Ligado Motor2\n\r");
						}
					}
					if ((totalTime > tempoLigadoNoite) & (statusMotor == 1)) {
						totalTime = 0;
						timeBefore = xTaskGetTickCount();
						statusMotor = 0;
						HAL_GPIO_WritePin(RELE1_GPIO_Port, RELE1_Pin, GPIO_PIN_SET);
						HAL_GPIO_WritePin(RELE2_GPIO_Port, RELE2_Pin, GPIO_PIN_SET);
						osMutexWait(mutexStatusHandle, 1000);
						Status.motor1 = 0;
						Status.motor2 = 0;
						osMutexRelease(mutexStatusHandle);
						printf("Desligado Motores\n\r");
					}
				}
			}else{
				statusMotor = 1;
				timeBefore = 0; //##todo
				HAL_GPIO_WritePin(RELE1_GPIO_Port, RELE1_Pin, GPIO_PIN_RESET);
				HAL_GPIO_WritePin(RELE2_GPIO_Port, RELE2_Pin, GPIO_PIN_RESET);
				osMutexWait(mutexStatusHandle, 1000);
				Status.motor1 = 1;
				Status.motor2 = 1;
				osMutexRelease(mutexStatusHandle);
				printf("Temperatura da Água Elevada - Ambos Motores Ligados\n\r");
			}
		}else{
			statusMotor = 0;
			HAL_GPIO_WritePin(RELE1_GPIO_Port, RELE1_Pin, GPIO_PIN_SET);
			HAL_GPIO_WritePin(RELE2_GPIO_Port, RELE2_Pin, GPIO_PIN_SET);
			osMutexWait(mutexStatusHandle, 1000);
			Status.motor1 = 0;
			Status.motor2 = 0;
			osMutexRelease(mutexStatusHandle);
			printf("Desligado Motores por Falha\n\r");
		}

		HAL_IWDG_Refresh(&hiwdg);

		osDelay(10000);
	}
  /* USER CODE END motores */
}

void impressao(void const * argument)
{
	/* USER CODE BEGIN impressao */
	int tensaoCarga;
	int corrente;
	int potencia;
	int	tempAgua;
	int	tempProc;
	int	tensaoBateria;
	int tensaoPainel;
	char motor1;
	char motor2;
	char isDia;
	char isFail;
	char isError;
	char normalTemp;
	char conexao;

	LCD_Init();
	LCD_Clear();

	/* Infinite loop */
	for(;;)
	{

		osMutexWait(mutexStatusHandle, 1000);
		conexao = Status.conexao;
		tensaoCarga = Status.tensaoCarga;
		corrente = Status.corrente;
		potencia = Status.potencia;
		tempAgua = Status.tempAgua;
		tempProc = Status.tempProc;
		tensaoBateria = Status.tensaoBateria;
		tensaoPainel = Status.tensaoPainel;
		motor1 = Status.motor1;
		motor2 = Status.motor2;
		isDia = Status.isDia;
		isFail = Status.isFail;
		isError = Status.isError;
		normalTemp = Status.normalTemp;
		osMutexRelease(mutexStatusHandle);

		sprintf(buffer,"P:%5d I:%4d ", potencia, corrente);
		LCD_Write_String(0,0,buffer);
		sprintf(buffer,"Vc:%5d Vb:%5d", tensaoCarga, tensaoBateria);
		LCD_Write_String(0,1,buffer);
		sprintf(buffer,"Vp:%5d Tp:%3d", tensaoPainel, tempProc);
		LCD_Write_String(0,2,buffer);
		sprintf(buffer,"Ta:3%d Er:%d Fa:%d", tempAgua, isError, isFail );
		LCD_Write_String(0,3,buffer);
		sprintf(buffer,"M1:%d M2:%d",motor1 ,motor2 );
		LCD_Write_String(0,4,buffer);
		sprintf(buffer,"Tn:%d Co:%d D:%d", normalTemp, conexao, isDia);
		LCD_Write_String(0,5,buffer);

		printf("conexao %d \n\r", conexao);
		printf("isDia %d \n\r", isDia);
		printf("isFail %d \n\r", isFail);
		printf("isError %d \n\r", isError);
		printf("normalTemp %d \n\r", normalTemp);
		printf("tempAgua %d \n\r", tempAgua);
		printf("tempProc %d \n\r", tempProc);
		printf("tensaoCarga %d \n\r", tensaoCarga);
		printf("tensaoBateria %d \n\r", tensaoBateria);
		printf("tensaoPaine %d \n\r", tensaoPainel);
		printf("corrente %d \n\r", corrente);
		printf("potencia %d \n\r", potencia);
		printf("Mot1 %d Mot2 %d \n\r", motor1, motor2);

		osDelay(1000);
	}
	/* USER CODE END impressao */
}

void rede(void const * argument)
{
	/* USER CODE BEGIN rede */
	char conexao;

	Wifi_Init();

	Wifi_SetMode(WifiMode_Station);

	conexao = Wifi_Station_ConnectToAp("","",NULL);

	osMutexWait(mutexStatusHandle, 1000);
	Status.conexao = conexao;
	osMutexRelease(mutexStatusHandle);

	//sampleserial_init();

	//mqtt_start();

	//mqtt_sub();

	/* Infinite loop */
	for(;;)
	{
//		if (Wifi_TcpIp_GetConnectionStatus())
//			conexao = Wifi.TcpIpConnections[0].status;
//		else
//			conexao = -99;

		osMutexWait(mutexStatusHandle, 1000);
		Status.conexao = conexao;
		osMutexRelease(mutexStatusHandle);

		sprintf(payload,"P:%d", ina219GetPower_mW());
		//mqtt_pub();
		printf("rede\n\r");
		osDelay(5000);
	}
	/* USER CODE END rede */
}

void HAL_TIM_PeriodElapsedCallback(TIM_HandleTypeDef *htim)
{
  if (htim->Instance == TIM1) {
    HAL_IncTick();
  }
}

void _Error_Handler(char *file, int line)
{
  while(1)
  {
  }
}

/************************ (C) COPYRIGHT STMicroelectronics *****END OF FILE****/
